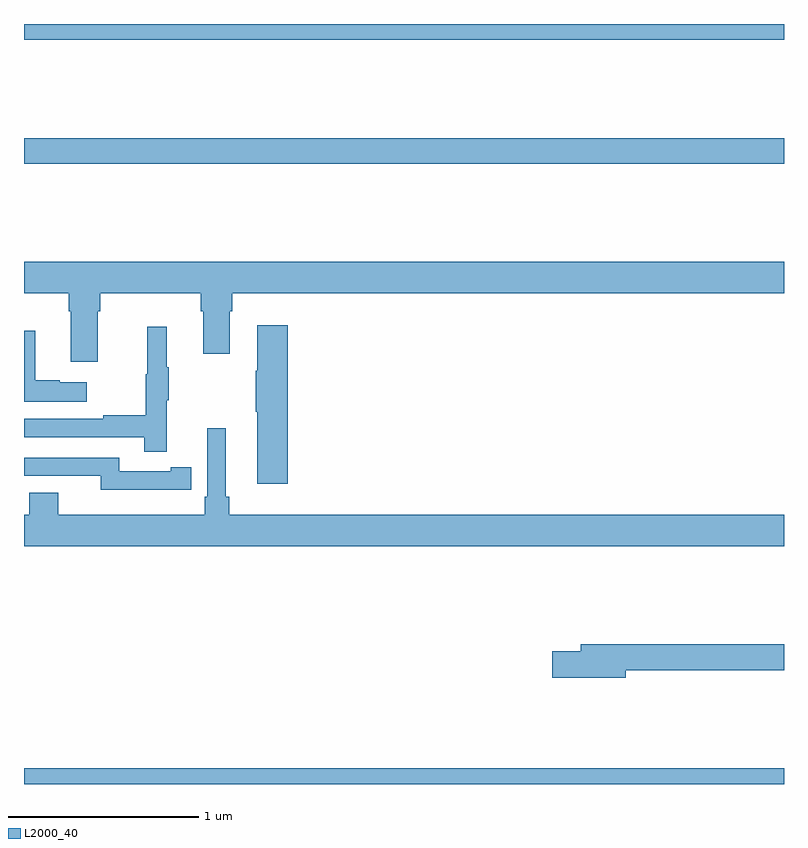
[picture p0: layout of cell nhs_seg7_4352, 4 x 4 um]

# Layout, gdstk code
import gdstk
lib = gdstk.Library(unit=1e-6, precision=1e-09)
def R(c, l, rs):  # rectangles x0, y0, x1, y1
    for r in rs: c.add(gdstk.rectangle(r[:2], r[2:], *l))
def P(c, l, *ps):  # polygons
    for p in ps: c.add(gdstk.Polygon(p, *l))
L2000_40 = (2000, 40)

nhs_seg7_4352 = lib.new_cell('nhs_seg7_4352')
R(nhs_seg7_4352, L2000_40, [(385,1030,389,1030.084), (385,1033.264,389,1033.4), (385,1033.916,389,1034)])
P(nhs_seg7_4352, L2000_40, [(385.387,1032.488),(385.4,1032.488),(385.4,1032.584),(385.931,1032.584),(385.931,1032.488),(385.943,1032.488),(385.943,1032.264),(386.083,1032.264),(386.083,1032.488),(386.096,1032.488),(386.096,1032.584),(389,1032.584),(389,1032.748),(385,1032.748),(385,1032.584),(385.235,1032.584),(385.235,1032.488),(385.247,1032.488),(385.247,1032.222),(385.387,1032.222)],
  [(386.387,1032.415),(386.228,1032.415),(386.228,1032.176),(386.221,1032.176),(386.221,1031.959),(386.228,1031.959),(386.228,1031.58),(386.387,1031.58)],
  [(385.751,1032.019),(385.762,1032.019),(385.762,1032.193),(385.751,1032.193),(385.751,1032.406),(385.648,1032.406),(385.648,1032.156),(385.641,1032.156),(385.641,1031.942),(385.417,1031.942),(385.417,1031.922),(385,1031.922),(385,1031.826),(385.633,1031.826),(385.633,1031.748),(385.751,1031.748)],
  [(385.33,1032.115),(385.187,1032.115),(385.187,1032.125),(385.06,1032.125),(385.06,1032.385),(385,1032.385),(385,1032.011),(385.33,1032.011)],
  [(389,1031.416),(386.081,1031.416),(386.081,1031.512),(386.062,1031.512),(386.062,1031.872),(385.965,1031.872),(385.965,1031.512),(385.952,1031.512),(385.952,1031.416),(385.18,1031.416),(385.18,1031.533),(385.028,1031.533),(385.028,1031.416),(385,1031.416),(385,1031.252),(389,1031.252)],
  [(385.772,1031.55),(385.88,1031.55),(385.88,1031.666),(385.772,1031.666),(385.772,1031.646),(385.5,1031.646),(385.5,1031.718),(385,1031.718),(385,1031.622),(385.404,1031.622),(385.404,1031.549),(385.772,1031.549)],
  [(388.168,1030.6),(389,1030.6),(389,1030.736),(387.929,1030.736),(387.929,1030.7),(387.78,1030.7),(387.78,1030.558),(388.168,1030.558)])

lib.write_gds('nhs_seg7_4352.gds')
